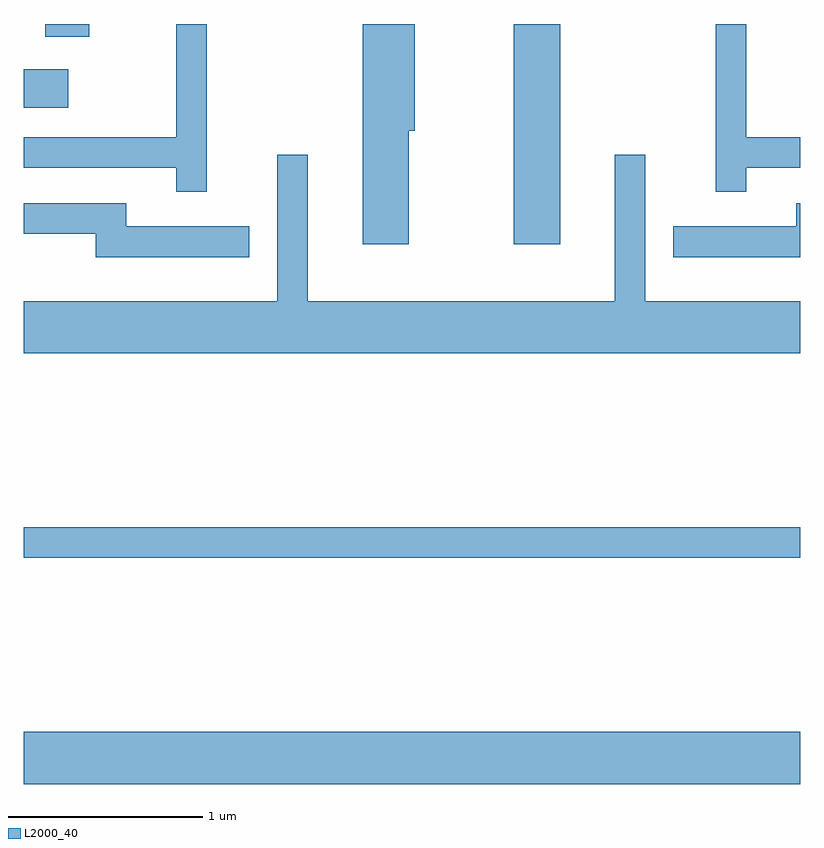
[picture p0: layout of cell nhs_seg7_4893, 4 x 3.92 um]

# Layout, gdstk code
import gdstk
lib = gdstk.Library(unit=1e-6, precision=1e-09)
def R(c, l, rs):  # rectangles x0, y0, x1, y1
    for r in rs: c.add(gdstk.rectangle(r[:2], r[2:], *l))
def P(c, l, *ps):  # polygons
    for p in ps: c.add(gdstk.Polygon(p, *l))
L2000_40 = (2000, 40)

nhs_seg7_4893 = lib.new_cell('nhs_seg7_4893')
R(nhs_seg7_4893, L2000_40, [(335.611,1694.336,339.611,1694.604), (335.611,1695.501,339.611,1695.659), (338.136,1697.116,338.374,1698.252), (335.611,1697.821,335.839,1698.019), (335.721,1698.186,335.949,1698.252)])
P(nhs_seg7_4893, L2000_40, [(337.594,1697.701),(337.624,1697.701),(337.624,1698.252),(337.356,1698.252),(337.356,1697.116),(337.594,1697.116)],
  [(336.554,1698.252),(336.396,1698.252),(336.396,1697.669),(335.611,1697.669),(335.611,1697.511),(336.396,1697.511),(336.396,1697.388),(336.554,1697.388)],
  [(339.334,1697.511),(339.611,1697.511),(339.611,1697.669),(339.334,1697.669),(339.334,1698.252),(339.176,1698.252),(339.176,1697.388),(339.334,1697.388)],
  [(339.611,1696.824),(338.814,1696.824),(338.814,1697.578),(338.656,1697.578),(338.656,1696.824),(337.074,1696.824),(337.074,1697.578),(336.916,1697.578),(336.916,1696.824),(335.611,1696.824),(335.611,1696.556),(339.611,1696.556)],
  [(339.611,1697.329),(339.591,1697.329),(339.591,1697.209),(338.958,1697.209),(338.958,1697.051),(339.611,1697.051)],
  [(336.773,1697.209),(336.139,1697.209),(336.139,1697.329),(335.611,1697.329),(335.611,1697.171),(335.981,1697.171),(335.981,1697.051),(336.773,1697.051)])

lib.write_gds('nhs_seg7_4893.gds')
